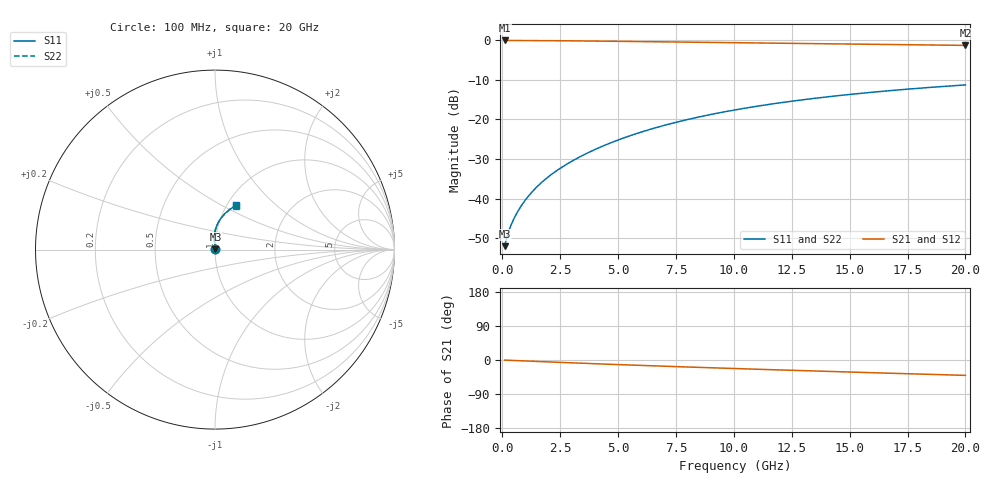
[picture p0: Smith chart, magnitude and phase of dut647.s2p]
! Touchstone file exported from HFSS 2024.1.0
!  File:  C:/UserFiles/LocalFiles/RDL_TSV_Batchsim/temp_RDL_bottom_647_1779785140.aedt
!  Generated:  04:48:10 PM May 26, 2026
!  Design:  RDL_bottom
!  Project:  temp_RDL_bottom_647_1779785140
!  Setup:  Setup1
!  Solution:  Sweep
! Variables:
!  dtsv = 10.80580581um
!  hbump = 3um
!  htsv = 89.47um
!  ldown = 631.35um
!  lrdl = 100um
!  p = 40
!  p1 = 49.1um
!  rhole = 1um
!  t = 450um
!  tdown = 3.89um
!  trdl = 3.915915916um
!  wdown = 29.83um
!  wrdl = 20um
# GHz S MA R 50.000000
! Terminal data exported
! Port[1] = RDL1_T1
! Port[2] = RDL1_T2
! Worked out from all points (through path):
!   200 points, 100 MHz to 20 GHz, reference 50 ohm
!   highest |S21| = -0.02 dB at 100 MHz (marker M1); lowest = -1.3 dB at 20 GHz (marker M2)
!   group delay of S21, straight-line fit = 5.54 ps
!   lowest |S11| = -52.0 dB at 100 MHz (marker M3), VSWR 1.01, Z = 50.2 + j0.12 ohm
!   |S11| at or under -10 dB: start of sweep to end of sweep
!   |S22| runs from -52.0 to -11.3 dB; largest |S21 - S12| = 4.5e-15
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0.1  0.002502 28.5  0.9978 -0.3  0.9978 -0.3  0.002502 28.5
! Gamma 0 0 0 0
! Port Impedance 50 0 50 0
0.2  0.00327 42.9  0.9975 -0.5  0.9975 -0.5  0.00327 42.9
0.3  0.004042 51.0  0.9973 -0.8  0.9973 -0.8  0.004042 51.0
0.4  0.004794 56.8  0.9971 -1.0  0.9971 -1.0  0.004795 56.8
0.5  0.005551 61.4  0.9969 -1.3  0.9969 -1.3  0.005553 61.4
0.8  0.007938 71.1  0.9963 -2.1  0.9963 -2.1  0.00794 71.1
1  0.009626 75.5  0.9958 -2.6  0.9958 -2.6  0.009627 75.4
1.2  0.01138 78.7  0.9953 -3.1  0.9953 -3.1  0.01138 78.7
1.7  0.01601 84.4  0.9936 -4.3  0.9936 -4.3  0.016 84.3
2.2  0.02097 87.9  0.9914 -5.6  0.9914 -5.6  0.02096 87.8
2.8  0.02739 90.7  0.9883 -7.0  0.9883 -7.0  0.02736 90.6
3.5  0.0355 92.7  0.9839 -8.7  0.9839 -8.7  0.03546 92.5
4.2  0.04427 93.6  0.979 -10.3  0.979 -10.3  0.0442 93.5
5  0.05501 93.9  0.973 -12.1  0.973 -12.1  0.05491 93.7
5.9  0.06786 93.3  0.9659 -14.1  0.9659 -14.1  0.06771 93.2
6.8  0.08131 92.2  0.9586 -16.0  0.9586 -16.0  0.08111 92.1
8.4  0.1061 89.4  0.9458 -19.3  0.9458 -19.3  0.1058 89.3
10.1  0.1329 85.8  0.9326 -22.7  0.9326 -22.7  0.1326 85.7
11.7  0.1579 82.2  0.9206 -25.7  0.9206 -25.7  0.1575 82.1
13.4  0.1838 78.3  0.9085 -28.9  0.9085 -28.9  0.1832 78.2
16.7  0.231 71.0  0.8859 -34.8  0.8859 -34.8  0.2302 70.8
20  0.2734 64.1  0.8644 -40.6  0.8644 -40.6  0.2725 63.9
